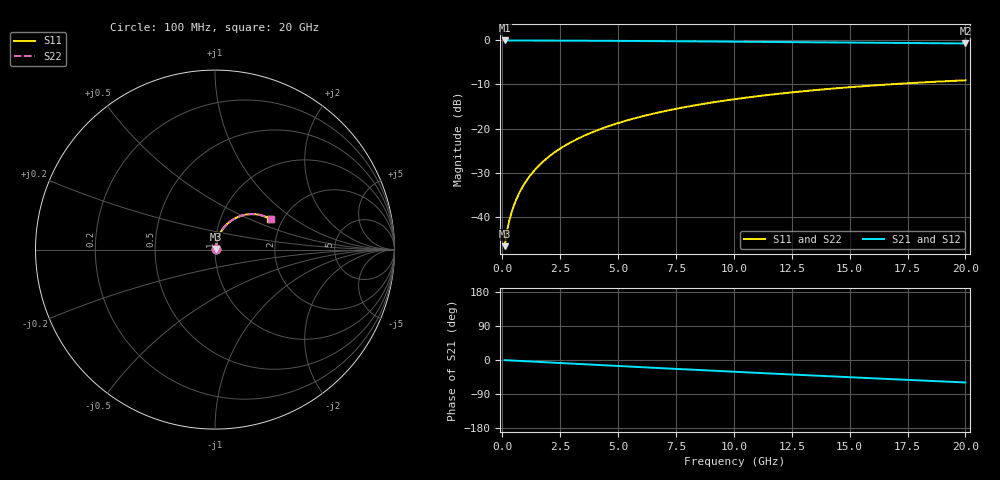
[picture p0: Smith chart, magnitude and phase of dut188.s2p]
! Touchstone file exported from HFSS 2026.1.0
!  File:  C:/ffzhzh/LocalFiles/Ansys_Project_Files/temp_train_TMRDL_188_1782983746_41620.aedt
!  Generated:  05:17:09 PM Jul  2, 2026
!  Design:  TMRDL
!  Project:  temp_train_TMRDL_188_1782983746_41620
! Variables:
!  h_bsmrdl = 2um
!  h_ox = 20um
!  h_rdl = 5um
!  h_sub = 80um
!  h_tmrdl = 3.48um
!  h_tsv = 80um
!  h_via = 3um
!  l_bsmrdl = 300um
!  l_sub = 1380.08um
!  l_tmrdl = 980.08um
!  m_sub = 200um
!  pitch = 47.66um
!  r_tsv = 6um
!  s_tmrdl = 10um
!  w_bsmrdl = 18um
!  w_sub = 500um
!  w_tmrdl = 29.51um
!  x_tsv_center1 = 994.835um
!  x_tsv_center2 = 1312.835um
!  x_tsv_center3 = 2322.425um
!  x_tsv_center4 = 2640.425um
!  x_tsv_center5 = 3650.015um
!  x_tsv_center6 = 3968.015um
# GHz S MA R 50.000000
! Terminal data exported
! Port[1] = TM_RDL1_1_T1
! Port[2] = TM_RDL1_1_T2
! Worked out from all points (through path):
!   200 points, 100 MHz to 20 GHz, reference 50 ohm
!   highest |S21| = -0.03 dB at 100 MHz (marker M1); lowest = -0.7 dB at 20 GHz (marker M2)
!   group delay of S21, straight-line fit = 8.23 ps
!   lowest |S11| = -46.6 dB at 100 MHz (marker M3), VSWR 1.01, Z = 50.4 + j0.287 ohm
!   |S11| at or under -10 dB: start of sweep to 16.66 GHz
!   |S22| runs from -46.6 to -9.1 dB; largest |S21 - S12| = 3.5e-15
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0.1  0.004663 37.6  0.9963 -0.3  0.9963 -0.3  0.004663 37.6
! Gamma 0 0 0 0
! Port Impedance 50 0 50 0
0.2  0.006818 53.2  0.996 -0.7  0.996 -0.7  0.006818 53.2
0.3  0.009052 60.4  0.9956 -1.0  0.9956 -1.0  0.009052 60.4
0.4  0.01126 64.7  0.9954 -1.3  0.9954 -1.3  0.01126 64.7
0.5  0.01346 67.8  0.9952 -1.6  0.9952 -1.6  0.01346 67.8
0.6  0.01568 70.0  0.995 -2.0  0.995 -2.0  0.01568 70.0
0.8  0.02017 73.0  0.9948 -2.6  0.9948 -2.6  0.02018 73.0
1.1  0.02703 75.4  0.9945 -3.5  0.9945 -3.5  0.02703 75.4
1.3  0.03164 76.2  0.9942 -4.2  0.9942 -4.2  0.03164 76.2
1.6  0.03858 76.8  0.9939 -5.1  0.9939 -5.1  0.03859 76.8
2.1  0.05017 76.8  0.9931 -6.7  0.9931 -6.7  0.05018 76.8
2.7  0.06401 76.0  0.9919 -8.6  0.9919 -8.6  0.06402 76.0
3.5  0.08224 74.3  0.99 -11.1  0.99 -11.1  0.08225 74.2
4.2  0.09792 72.5  0.9881 -13.3  0.9881 -13.3  0.09793 72.5
5  0.1155 70.4  0.9855 -15.8  0.9855 -15.8  0.1155 70.3
5.9  0.1347 67.8  0.9824 -18.6  0.9824 -18.6  0.1347 67.8
6.8  0.1534 65.3  0.979 -21.4  0.979 -21.4  0.1534 65.2
8.3  0.1832 61.0  0.9728 -25.9  0.9728 -25.9  0.1832 60.9
10.1  0.2167 55.8  0.9649 -31.3  0.9649 -31.3  0.2167 55.7
13.4  0.2713 46.6  0.9497 -40.9  0.9497 -40.9  0.2714 46.4
16.7  0.3167 37.6  0.9349 -50.2  0.9349 -50.2  0.3168 37.3
20  0.3525 28.8  0.9216 -59.3  0.9216 -59.3  0.3527 28.5
